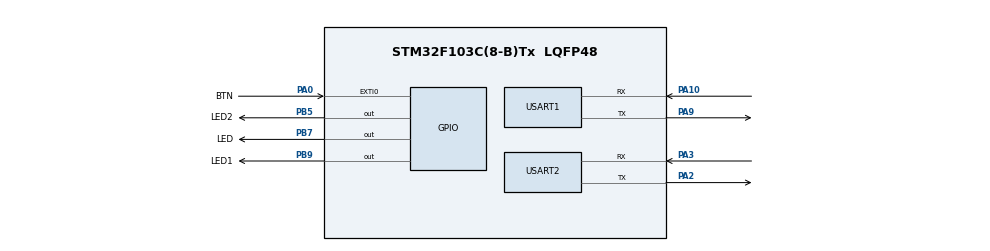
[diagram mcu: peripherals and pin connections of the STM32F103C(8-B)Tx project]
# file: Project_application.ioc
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Dma.Request0=USART2_RX
Dma.Request1=USART2_TX
Dma.Request2=USART1_RX
Dma.Request3=USART1_TX
Dma.USART1_RX.2.Direction=DMA_PERIPH_TO_MEMORY
Dma.USART1_RX.2.Instance=DMA1_Channel5
Dma.USART1_RX.2.MemDataAlignment=DMA_MDATAALIGN_BYTE
Dma.USART1_RX.2.MemInc=DMA_MINC_ENABLE
Dma.USART1_RX.2.Mode=DMA_CIRCULAR
Dma.USART1_RX.2.PeriphDataAlignment=DMA_PDATAALIGN_BYTE
Dma.USART1_RX.2.PeriphInc=DMA_PINC_DISABLE
Dma.USART1_RX.2.Priority=DMA_PRIORITY_LOW
Dma.USART1_TX.3.Direction=DMA_MEMORY_TO_PERIPH
Dma.USART1_TX.3.Instance=DMA1_Channel4
Dma.USART1_TX.3.MemDataAlignment=DMA_MDATAALIGN_BYTE
Dma.USART1_TX.3.MemInc=DMA_MINC_ENABLE
Dma.USART1_TX.3.Mode=DMA_CIRCULAR
Dma.USART1_TX.3.PeriphDataAlignment=DMA_PDATAALIGN_BYTE
Dma.USART1_TX.3.PeriphInc=DMA_PINC_DISABLE
Dma.USART1_TX.3.Priority=DMA_PRIORITY_LOW
Dma.USART2_RX.0.Direction=DMA_PERIPH_TO_MEMORY
Dma.USART2_RX.0.Instance=DMA1_Channel6
Dma.USART2_RX.0.MemDataAlignment=DMA_MDATAALIGN_BYTE
Dma.USART2_RX.0.MemInc=DMA_MINC_ENABLE
Dma.USART2_RX.0.Mode=DMA_CIRCULAR
Dma.USART2_RX.0.PeriphDataAlignment=DMA_PDATAALIGN_BYTE
Dma.USART2_RX.0.PeriphInc=DMA_PINC_DISABLE
Dma.USART2_RX.0.Priority=DMA_PRIORITY_LOW
Dma.USART2_TX.1.Direction=DMA_MEMORY_TO_PERIPH
Dma.USART2_TX.1.Instance=DMA1_Channel7
Dma.USART2_TX.1.MemDataAlignment=DMA_MDATAALIGN_BYTE
Dma.USART2_TX.1.MemInc=DMA_MINC_ENABLE
Dma.USART2_TX.1.Mode=DMA_CIRCULAR
Dma.USART2_TX.1.PeriphDataAlignment=DMA_PDATAALIGN_BYTE
Dma.USART2_TX.1.PeriphInc=DMA_PINC_DISABLE
Dma.USART2_TX.1.Priority=DMA_PRIORITY_LOW
FREERTOS.BinarySemaphores01=ledSemaphore,Dynamic,NULL,Available
FREERTOS.Mutexes01=ledMutex,Dynamic,NULL,Depleted;uartMutex,Dynamic,NULL,Available
FREERTOS.Tasks01=defaultTask,24,128,StartDefaultTask,Default,NULL,Dynamic,NULL,NULL;myTask02,40,128,ManualOverride,Default,NULL,Dynamic,NULL,NULL;myTask03,32,128,CommandTask,Default,NULL,Dynamic,NULL,NULL
FREERTOS.configUSE_NEWLIB_REENTRANT=1
Mcu.Family=STM32F1
Mcu.Name=STM32F103C(8-B)Tx
Mcu.Package=LQFP48
NVIC.DMA1_Channel4_IRQn=true\:5\:0\:false\:false\:true\:true\:false\:true\:true
NVIC.DMA1_Channel5_IRQn=true\:5\:0\:false\:false\:true\:true\:false\:true\:true
NVIC.DMA1_Channel6_IRQn=true\:5\:0\:false\:false\:true\:true\:false\:true\:true
NVIC.DMA1_Channel7_IRQn=true\:5\:0\:false\:false\:true\:true\:false\:true\:true
NVIC.EXTI0_IRQn=true\:5\:0\:false\:false\:true\:true\:true\:true\:true
NVIC.PriorityGroup=NVIC_PRIORITYGROUP_4
NVIC.TIM4_IRQn=true\:15\:0\:false\:false\:true\:false\:false\:true\:true
NVIC.TimeBase=TIM4_IRQn
NVIC.TimeBaseIP=TIM4
NVIC.USART1_IRQn=true\:5\:0\:false\:false\:true\:true\:true\:true\:true
NVIC.USART2_IRQn=true\:5\:0\:false\:false\:true\:true\:true\:true\:true
PA0-WKUP.GPIO_Label=BTN
PA0-WKUP.GPIO_PuPd=GPIO_PULLUP
PA0-WKUP.Signal=GPXTI0
PA10.Mode=Asynchronous
PA10.Signal=USART1_RX
PA13.Mode=Serial_Wire
PA13.Signal=SYS_JTMS-SWDIO
PA14.Mode=Serial_Wire
PA14.Signal=SYS_JTCK-SWCLK
PA2.Mode=Asynchronous
PA2.Signal=USART2_TX
PA3.Mode=Asynchronous
PA3.Signal=USART2_RX
PA9.Mode=Asynchronous
PA9.Signal=USART1_TX
PB5.GPIO_Label=LED2
PB5.Signal=GPIO_Output
PB7.GPIO_Label=LED
PB7.Signal=GPIO_Output
PB9.GPIO_Label=LED1
PB9.Signal=GPIO_Output
ProjectManager.HeapSize=0x200
ProjectManager.StackSize=0x400
ProjectManager.TargetToolchain=STM32CubeIDE
RCC.APB1Freq_Value=8000000
RCC.APB2Freq_Value=8000000
USART1.VirtualMode=VM_ASYNC
USART2.VirtualMode=VM_ASYNC
VP_FREERTOS_VS_CMSIS_V2.Mode=CMSIS_V2
VP_SYS_VS_tim4.Mode=TIM4
board=custom

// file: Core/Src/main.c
/* USER CODE BEGIN Header */
/**
  ******************************************************************************
  * @file           : main.c
  * @brief          : Main program body
  ******************************************************************************
  * @attention
  *
  * Copyright (c) 2026 STMicroelectronics.
  * All rights reserved.
  *
  * This software is licensed under terms that can be found in the LICENSE file
  * in the root directory of this software component.
  * If no LICENSE file comes with this software, it is provided AS-IS.
  *
  ******************************************************************************
  */
/* USER CODE END Header */
#include "main.h"
#include "cmsis_os.h"

/* USER CODE BEGIN Includes */
#include "stdio.h"
#include "string.h"
/* USER CODE END Includes */

/* USER CODE BEGIN PD */
#define BOOTLOADER_FLAG 0xDEADBEEF
#define BUFFER_SIZE 64
#define MANUAL_ENTER_FLAG   (1U << 0)
#define MANUAL_EXIT_FLAG    (1U << 1)
#define UART_CMD_READY_FLAG (1U << 0)

/* USER CODE END PD */

UART_HandleTypeDef huart1;
UART_HandleTypeDef huart2;
DMA_HandleTypeDef hdma_usart1_rx;
DMA_HandleTypeDef hdma_usart1_tx;
DMA_HandleTypeDef hdma_usart2_rx;
DMA_HandleTypeDef hdma_usart2_tx;

/* Definitions for defaultTask */
osThreadId_t defaultTaskHandle;
const osThreadAttr_t defaultTask_attributes = {
  .name = "defaultTask",
  .stack_size = 128 * 4,
  .priority = (osPriority_t) osPriorityNormal,
};
/* Definitions for myTask02 */
osThreadId_t myTask02Handle;
const osThreadAttr_t myTask02_attributes = {
  .name = "myTask02",
  .stack_size = 128 * 4,
  .priority = (osPriority_t) osPriorityHigh,
};
/* Definitions for myTask03 */
osThreadId_t myTask03Handle;
const osThreadAttr_t myTask03_attributes = {
  .name = "myTask03",
  .stack_size = 128 * 4,
  .priority = (osPriority_t) osPriorityAboveNormal,
};
/* Definitions for ledMutex */
osMutexId_t ledMutexHandle;
const osMutexAttr_t ledMutex_attributes = {
  .name = "ledMutex"
};
/* Definitions for uartMutex */
osMutexId_t uartMutexHandle;
const osMutexAttr_t uartMutex_attributes = {
  .name = "uartMutex"
};
/* Definitions for ledSemaphore */
osSemaphoreId_t ledSemaphoreHandle;
const osSemaphoreAttr_t ledSemaphore_attributes = {
  .name = "ledSemaphore"
};
/* USER CODE BEGIN PV */
extern int _bflag;
uint32_t *bootloader_flag;
uint32_t push_count = 0;
char transmit_buffer[BUFFER_SIZE];
char receive_buffer[BUFFER_SIZE];
char dma_buffer[BUFFER_SIZE];
volatile uint8_t is_manual_mode = 0;
volatile uint32_t buffer_length = 0;
char* signal;
char* status;
/* USER CODE END PV */

void SystemClock_Config(void);
static void MX_GPIO_Init(void);
static void MX_DMA_Init(void);
static void MX_USART2_UART_Init(void);
static void MX_USART1_UART_Init(void);
void StartDefaultTask(void *argument);
void ManualOverride(void *argument);
void CommandTask(void *argument);

/* USER CODE BEGIN 0 */
#ifdef __GNUC__
/* With GCC, small printf (option LD Linker->Libraries->Small printf
   set to 'Yes') calls __io_putchar() */
#define PUTCHAR_PROTOTYPE int __io_putchar(int ch)
#else
#define PUTCHAR_PROTOTYPE int fputc(int ch, FILE *f)
#endif /* __GNUC__ */

PUTCHAR_PROTOTYPE
{
  /* Place your implementation of fputc here */
  /* e.g. write a character to the USART1 and Loop until the end of transmission */
  __HAL_UART_FLUSH_DRREGISTER(&huart1);
  __HAL_UART_FLUSH_DRREGISTER(&huart2);
  //HAL_UART_Transmit(&huart1, (uint8_t *)&ch, 1, 10);
  HAL_UART_Transmit(&huart2, (uint8_t *)&ch, 1, 10);

  return ch;
}

void HAL_GPIO_EXTI_Callback(uint16_t GPIO_Pin){
	if(GPIO_Pin == BTN_Pin){
		//printf("Button Pressed \r\n");
		GPIO_PinState pinState = HAL_GPIO_ReadPin(BTN_GPIO_Port, BTN_Pin);
		if(pinState == GPIO_PIN_RESET){
			push_count = HAL_GetTick();
		}
		else{
			//printf("Button released \r\n");
			if(HAL_GetTick() - push_count > 1000){
				*bootloader_flag = BOOTLOADER_FLAG;
				HAL_NVIC_SystemReset();
			}
			push_count = 0;
		}
	}
}

void process_character(char ch)
{
    static uint16_t idx = 0;

    if (ch == '\0' || ch == '\n' || ch == '\r')
    {
    	//printf("inside_if\r\n");
    	if(idx > 0){
        receive_buffer[idx] = '\0';
        idx = 0;

        // ONLY signal that a command is ready
        osThreadFlagsSet(myTask03Handle, UART_CMD_READY_FLAG);
    	}
        //printf("commandtask called\r\n");

    }
    else if (idx < BUFFER_SIZE - 1)
    {
        receive_buffer[idx++] = ch;
        //printf("%c", ch);
    }
}

void HAL_UARTEx_RxEventCallback(UART_HandleTypeDef *huart, uint16_t offset) {

    static uint16_t last_offset = 0;
    if (offset != last_offset) {
        while (offset < last_offset && last_offset < BUFFER_SIZE){
        	process_character((char) dma_buffer[last_offset]);
        	++last_offset;
        }
        last_offset = 0;
        while (last_offset < offset) {
            process_character((char) dma_buffer[last_offset]);
            ++last_offset;
        }
    }
    //printf("In\r\n");
    HAL_UARTEx_ReceiveToIdle_DMA(&huart1, (uint8_t*)dma_buffer, BUFFER_SIZE);
}

void HAL_UART_ErrorCallback(UART_HandleTypeDef *huart) {
    printf("UART Error\n");
    Error_Handler();
}
/* USER CODE END 0 */

int main(void)
{

  /* USER CODE BEGIN 1 */
	bootloader_flag = (uint32_t *)(& _bflag);
  /* USER CODE END 1 */

  /* MCU Configuration--------------------------------------------------------*/

  /* Reset of all peripherals, Initializes the Flash interface and the Systick. */
  HAL_Init();

  /* Configure the system clock */
  SystemClock_Config();

  /* Initialize all configured peripherals */
  MX_GPIO_Init();
  MX_DMA_Init();
  MX_USART2_UART_Init();
  MX_USART1_UART_Init();
  /* USER CODE BEGIN 2 */
  printf("\r\n\r\n Application Starting \r\n\r\n");
  HAL_UARTEx_ReceiveToIdle_DMA(&huart1, (uint8_t*) &dma_buffer, BUFFER_SIZE);
  /* USER CODE END 2 */

  /* Init scheduler */
  osKernelInitialize();
  /* Create the mutex(es) */
  /* creation of ledMutex */
  ledMutexHandle = osMutexNew(&ledMutex_attributes);

  /* creation of uartMutex */
  uartMutexHandle = osMutexNew(&uartMutex_attributes);

  /* Create the semaphores(s) */
  /* creation of ledSemaphore */
  ledSemaphoreHandle = osSemaphoreNew(1, 1, &ledSemaphore_attributes);

  /* Create the thread(s) */
  /* creation of defaultTask */
  defaultTaskHandle = osThreadNew(StartDefaultTask, NULL, &defaultTask_attributes);

  /* creation of myTask02 */
  myTask02Handle = osThreadNew(ManualOverride, NULL, &myTask02_attributes);

  /* creation of myTask03 */
  myTask03Handle = osThreadNew(CommandTask, NULL, &myTask03_attributes);

  /* Start scheduler */
  osKernelStart();

  /* We should never get here as control is now taken by the scheduler */

  /* Infinite loop */
  /* USER CODE BEGIN WHILE */
  uint32_t now = 0, next_tick = 1000, next_blink = 500;
  while (1)
  {
	  now = uwTick;
	  if(now >= next_blink){
		  HAL_GPIO_TogglePin(LED1_GPIO_Port, LED1_Pin);
  		  next_blink += 500;
  	  }
  	  if(now >= next_tick){
    	  printf("Tick %lu \r\n", now/1000);
    	  next_tick += 1000;
  	  }
    /* USER CODE END WHILE */

  }
}

void SystemClock_Config(void)
{
  RCC_OscInitTypeDef RCC_OscInitStruct = {0};
  RCC_ClkInitTypeDef RCC_ClkInitStruct = {0};

  /** Initializes the RCC Oscillators according to the specified parameters
  * in the RCC_OscInitTypeDef structure.
  */
  RCC_OscInitStruct.OscillatorType = RCC_OSCILLATORTYPE_HSI;
  RCC_OscInitStruct.HSIState = RCC_HSI_ON;
  RCC_OscInitStruct.HSICalibrationValue = RCC_HSICALIBRATION_DEFAULT;
  RCC_OscInitStruct.PLL.PLLState = RCC_PLL_NONE;
  if (HAL_RCC_OscConfig(&RCC_OscInitStruct) != HAL_OK)
  {
    Error_Handler();
  }

  /** Initializes the CPU, AHB and APB buses clocks
  */
  RCC_ClkInitStruct.ClockType = RCC_CLOCKTYPE_HCLK|RCC_CLOCKTYPE_SYSCLK
                              |RCC_CLOCKTYPE_PCLK1|RCC_CLOCKTYPE_PCLK2;
  RCC_ClkInitStruct.SYSCLKSource = RCC_SYSCLKSOURCE_HSI;
  RCC_ClkInitStruct.AHBCLKDivider = RCC_SYSCLK_DIV1;
  RCC_ClkInitStruct.APB1CLKDivider = RCC_HCLK_DIV1;
  RCC_ClkInitStruct.APB2CLKDivider = RCC_HCLK_DIV1;

  if (HAL_RCC_ClockConfig(&RCC_ClkInitStruct, FLASH_LATENCY_0) != HAL_OK)
  {
    Error_Handler();
  }
}

static void MX_USART1_UART_Init(void)
{

  huart1.Instance = USART1;
  huart1.Init.BaudRate = 115200;
  huart1.Init.WordLength = UART_WORDLENGTH_8B;
  huart1.Init.StopBits = UART_STOPBITS_1;
  huart1.Init.Parity = UART_PARITY_NONE;
  huart1.Init.Mode = UART_MODE_TX_RX;
  huart1.Init.HwFlowCtl = UART_HWCONTROL_NONE;
  huart1.Init.OverSampling = UART_OVERSAMPLING_16;
  if (HAL_UART_Init(&huart1) != HAL_OK)
  {
    Error_Handler();
  }

}

static void MX_USART2_UART_Init(void)
{

  huart2.Instance = USART2;
  huart2.Init.BaudRate = 115200;
  huart2.Init.WordLength = UART_WORDLENGTH_8B;
  huart2.Init.StopBits = UART_STOPBITS_1;
  huart2.Init.Parity = UART_PARITY_NONE;
  huart2.Init.Mode = UART_MODE_TX_RX;
  huart2.Init.HwFlowCtl = UART_HWCONTROL_NONE;
  huart2.Init.OverSampling = UART_OVERSAMPLING_16;
  if (HAL_UART_Init(&huart2) != HAL_OK)
  {
    Error_Handler();
  }

}

static void MX_DMA_Init(void)
{

  /* DMA controller clock enable */
  __HAL_RCC_DMA1_CLK_ENABLE();

  /* DMA interrupt init */
  /* DMA1_Channel4_IRQn interrupt configuration */
  HAL_NVIC_SetPriority(DMA1_Channel4_IRQn, 5, 0);
  HAL_NVIC_EnableIRQ(DMA1_Channel4_IRQn);
  /* DMA1_Channel5_IRQn interrupt configuration */
  HAL_NVIC_SetPriority(DMA1_Channel5_IRQn, 5, 0);
  HAL_NVIC_EnableIRQ(DMA1_Channel5_IRQn);
  /* DMA1_Channel6_IRQn interrupt configuration */
  HAL_NVIC_SetPriority(DMA1_Channel6_IRQn, 5, 0);
  HAL_NVIC_EnableIRQ(DMA1_Channel6_IRQn);
  /* DMA1_Channel7_IRQn interrupt configuration */
  HAL_NVIC_SetPriority(DMA1_Channel7_IRQn, 5, 0);
  HAL_NVIC_EnableIRQ(DMA1_Channel7_IRQn);

}

static void MX_GPIO_Init(void)
{
  GPIO_InitTypeDef GPIO_InitStruct = {0};

  /* GPIO Ports Clock Enable */
  __HAL_RCC_GPIOA_CLK_ENABLE();
  __HAL_RCC_GPIOB_CLK_ENABLE();

  /*Configure GPIO pin Output Level */
  HAL_GPIO_WritePin(GPIOB, LED2_Pin|LED_Pin|LED1_Pin, GPIO_PIN_RESET);

  /*Configure GPIO pin : BTN_Pin */
  GPIO_InitStruct.Pin = BTN_Pin;
  GPIO_InitStruct.Mode = GPIO_MODE_IT_RISING;
  GPIO_InitStruct.Pull = GPIO_PULLUP;
  HAL_GPIO_Init(BTN_GPIO_Port, &GPIO_InitStruct);

  /*Configure GPIO pins : LED2_Pin LED_Pin LED1_Pin */
  GPIO_InitStruct.Pin = LED2_Pin|LED_Pin|LED1_Pin;
  GPIO_InitStruct.Mode = GPIO_MODE_OUTPUT_PP;
  GPIO_InitStruct.Pull = GPIO_NOPULL;
  GPIO_InitStruct.Speed = GPIO_SPEED_FREQ_LOW;
  HAL_GPIO_Init(GPIOB, &GPIO_InitStruct);

  /* EXTI interrupt init*/
  HAL_NVIC_SetPriority(EXTI0_IRQn, 5, 0);
  HAL_NVIC_EnableIRQ(EXTI0_IRQn);

}

void StartDefaultTask(void *argument)
{
  /* USER CODE BEGIN 5 */
	//osStatus_t ret;
  /* Infinite loop */
  for(;;)
  {
	  osSemaphoreAcquire(ledSemaphoreHandle, osWaitForever);

	  osMutexWait(ledMutexHandle, osWaitForever);
	  HAL_GPIO_WritePin(LED1_GPIO_Port, LED1_Pin, GPIO_PIN_SET);
	  HAL_GPIO_WritePin(LED_GPIO_Port, LED_Pin, GPIO_PIN_RESET);
	  HAL_GPIO_WritePin(LED2_GPIO_Port, LED2_Pin, GPIO_PIN_RESET);
	  osMutexRelease(ledMutexHandle);
	  status = "RED";
	  osDelay(2000);

	  osMutexWait(ledMutexHandle, osWaitForever);
	  HAL_GPIO_WritePin(LED1_GPIO_Port, LED1_Pin, GPIO_PIN_RESET);
	  HAL_GPIO_WritePin(LED_GPIO_Port, LED_Pin, GPIO_PIN_SET);
  	  HAL_GPIO_WritePin(LED2_GPIO_Port, LED2_Pin, GPIO_PIN_RESET);
	  osMutexRelease(ledMutexHandle);
	  status = "YELLOW";
	  osDelay(2000);

	  osMutexWait(ledMutexHandle, osWaitForever);
	  HAL_GPIO_WritePin(LED1_GPIO_Port, LED1_Pin, GPIO_PIN_RESET);
  	  HAL_GPIO_WritePin(LED_GPIO_Port, LED_Pin, GPIO_PIN_RESET);
  	  HAL_GPIO_WritePin(LED2_GPIO_Port, LED2_Pin, GPIO_PIN_SET);
	  osMutexRelease(ledMutexHandle);
	  status = "GREEN";
	  osDelay(2000);
	  if(is_manual_mode == 0){
	  osSemaphoreRelease(ledSemaphoreHandle);
	  }
  }
  /* USER CODE END 5 */
}

void ManualOverride(void *argument)
{
  /* USER CODE BEGIN ManualOverride */
  /* Infinite loop */
  for(;;)
  {
	  //printf("in function\r\n");
	  osThreadFlagsWait(MANUAL_ENTER_FLAG, osFlagsWaitAny, osWaitForever);
	  //printf("Manual Override Triggered! \r\n");
	  is_manual_mode = 1;
	  uint8_t length = strlen(signal);
	  //printf("received %s , %d\r\n", signal, length);
	  osMutexAcquire(ledMutexHandle, osWaitForever);

	  if(length == 1){
	  char single_char = (char)(*signal);
	  //printf("received %c , %d\r\n", single_char, length);
	  switch(single_char){
	  case 'R':
		  HAL_GPIO_WritePin(LED1_GPIO_Port, LED1_Pin, GPIO_PIN_SET);
	  	  HAL_GPIO_WritePin(LED_GPIO_Port, LED_Pin, GPIO_PIN_RESET);
	  	  HAL_GPIO_WritePin(LED2_GPIO_Port, LED2_Pin, GPIO_PIN_RESET);
	  	  status = "RED";
	  	  break;
	  case 'Y':
		  HAL_GPIO_WritePin(LED1_GPIO_Port, LED1_Pin, GPIO_PIN_RESET);
	  	  HAL_GPIO_WritePin(LED_GPIO_Port, LED_Pin, GPIO_PIN_SET);
    	  HAL_GPIO_WritePin(LED2_GPIO_Port, LED2_Pin, GPIO_PIN_RESET);
    	  status = "BLUE";
    	  break;
	  case 'G':
		  HAL_GPIO_WritePin(LED1_GPIO_Port, LED1_Pin, GPIO_PIN_RESET);
    	  HAL_GPIO_WritePin(LED_GPIO_Port, LED_Pin, GPIO_PIN_RESET);
    	  HAL_GPIO_WritePin(LED2_GPIO_Port, LED2_Pin, GPIO_PIN_SET);
    	  status = "GREEN";
    	  break;
	  case 'E':
		  is_manual_mode = 0;
	  default:
		  is_manual_mode = 0;
	  }
	  }
	  else{
		  if(strcmp(signal, "I_9600") == 0){
			  printf("9600 change \n");
			  osDelay(100);
			  HAL_UART_DMAStop(&huart1);
			  huart1.Init.BaudRate = 9600;
			 // HAL_UART_Init(&huart1);
			  if (HAL_UART_Init(&huart1) == HAL_OK) {
				  printf("Baud rate changed to 9600 successfully\n");
			  }
			  HAL_UARTEx_ReceiveToIdle_DMA(&huart1, (uint8_t*)dma_buffer, BUFFER_SIZE);
			  memset(signal, 0, length);
			  //printf("changed am here\n");
		  }
		  else if(strcmp(signal, "I_115200") == 0){
			  printf("115200 change \r\n");
			  HAL_UART_DMAStop(&huart1);
			  huart1.Init.BaudRate = 115200;
			  HAL_UART_Init(&huart1);
		  }
		  else if(strcmp(signal, "ENTER_BOOT") == 0){
			  printf("entering boot\r\n");
			  *bootloader_flag = BOOTLOADER_FLAG;
			  HAL_NVIC_SystemReset();
		  }
		  else if(strcmp(signal, "STATUS") == 0){
		  		  printf("Status : %s \n",status);
		  		  __HAL_UART_CLEAR_FLAG(&huart1, UART_FLAG_TC);
		  		  HAL_UART_Transmit(&huart1, status, sizeof(status) + 1, 10);
		  	  }
		  //is_manual_mode = 0;
	  }
	  osMutexRelease(ledMutexHandle);
	  if(!is_manual_mode){
	  //printf("returning to default task! \r\n");
	  osSemaphoreRelease(ledSemaphoreHandle);
	  }

  }
  /* USER CODE END ManualOverride */
}

void CommandTask(void *argument)
{
  /* USER CODE BEGIN CommandTask */
  /* Infinite loop */
  for(;;)
  {
	  osThreadFlagsWait(UART_CMD_READY_FLAG, osFlagsWaitAny, osWaitForever);
	  osMutexAcquire(uartMutexHandle, osWaitForever);
	  signal = receive_buffer;
	  osMutexRelease(uartMutexHandle);
	  osThreadFlagsSet(myTask02Handle, MANUAL_ENTER_FLAG);

  }
  /* USER CODE END CommandTask */
}

void HAL_TIM_PeriodElapsedCallback(TIM_HandleTypeDef *htim)
{
  if (htim->Instance == TIM4)
  {
    HAL_IncTick();
  }
}

void Error_Handler(void)
{
  __disable_irq();
  while (1)
  {
  }
}
